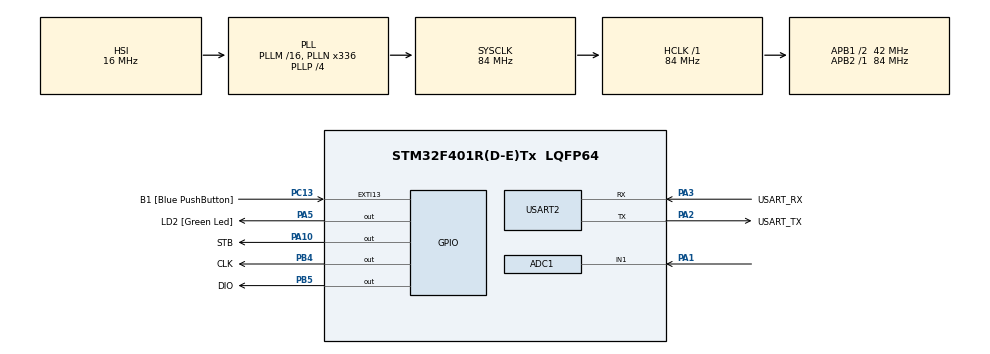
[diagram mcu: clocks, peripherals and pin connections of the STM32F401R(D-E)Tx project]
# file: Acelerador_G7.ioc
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ADC1.Channel-5\#ChannelRegularConversion=ADC_CHANNEL_1
ADC1.InjNumberOfConversion=0
ADC1.NbrOfConversion=1
ADC1.NbrOfConversionFlag=1
ADC1.Rank-5\#ChannelRegularConversion=1
ADC1.SamplingTime-5\#ChannelRegularConversion=ADC_SAMPLETIME_480CYCLES
ADC1.master=1
Mcu.Family=STM32F4
Mcu.Name=STM32F401R(D-E)Tx
Mcu.Package=LQFP64
NVIC.ADC_IRQn=true\:0\:0\:false\:false\:true\:true\:true\:true
NVIC.PriorityGroup=NVIC_PRIORITYGROUP_0
PA1.Signal=ADCx_IN1
PA10.GPIO_Label=STB
PA10.Signal=GPIO_Output
PA13.GPIO_Label=TMS
PA13.Mode=Serial_Wire
PA13.Signal=SYS_JTMS-SWDIO
PA14.GPIO_Label=TCK
PA14.Mode=Serial_Wire
PA14.Signal=SYS_JTCK-SWCLK
PA2.GPIO_Label=USART_TX
PA2.GPIO_Mode=GPIO_MODE_AF_PP
PA2.GPIO_PuPd=GPIO_NOPULL
PA2.GPIO_Speed=GPIO_SPEED_FREQ_LOW
PA2.Mode=Asynchronous
PA2.Signal=USART2_TX
PA3.GPIO_Label=USART_RX
PA3.GPIO_Mode=GPIO_MODE_AF_PP
PA3.GPIO_PuPd=GPIO_NOPULL
PA3.GPIO_Speed=GPIO_SPEED_FREQ_LOW
PA3.Mode=Asynchronous
PA3.Signal=USART2_RX
PA5.GPIO_Label=LD2 [Green Led]
PA5.GPIO_Mode=GPIO_MODE_OUTPUT_PP
PA5.GPIO_PuPd=GPIO_NOPULL
PA5.GPIO_Speed=GPIO_SPEED_FREQ_LOW
PA5.Signal=GPIO_Output
PB3.GPIO_Label=SWO
PB3.Signal=SYS_JTDO-SWO
PB4.GPIO_Label=CLK
PB4.Signal=GPIO_Output
PB5.GPIO_Label=DIO
PB5.Signal=GPIO_Output
PC13-ANTI_TAMP.GPIO_Label=B1 [Blue PushButton]
PC13-ANTI_TAMP.GPIO_ModeDefaultEXTI=GPIO_MODE_IT_FALLING
PC13-ANTI_TAMP.GPIO_PuPd=GPIO_NOPULL
PC13-ANTI_TAMP.Signal=GPXTI13
PC14-OSC32_IN.Mode=LSE-External-Oscillator
PC14-OSC32_IN.Signal=RCC_OSC32_IN
PC15-OSC32_OUT.Mode=LSE-External-Oscillator
PC15-OSC32_OUT.Signal=RCC_OSC32_OUT
PH0\ -\ OSC_IN.Mode=HSE-External-Clock-Source
PH0\ -\ OSC_IN.Signal=RCC_OSC_IN
PH1\ -\ OSC_OUT.Mode=HSE-External-Clock-Source
PH1\ -\ OSC_OUT.Signal=RCC_OSC_OUT
ProjectManager.HeapSize=0x200
ProjectManager.StackSize=0x400
ProjectManager.TargetToolchain=STM32CubeIDE
RCC.48MHZClocksFreq_Value=48000000
RCC.AHBFreq_Value=84000000
RCC.APB1CLKDivider=RCC_HCLK_DIV2
RCC.APB1Freq_Value=42000000
RCC.APB1TimFreq_Value=84000000
RCC.APB2Freq_Value=84000000
RCC.APB2TimFreq_Value=84000000
RCC.CortexFreq_Value=84000000
RCC.HCLKFreq_Value=84000000
RCC.HSE_VALUE=8000000
RCC.HSI_VALUE=16000000
RCC.PLLN=336
RCC.PLLP=RCC_PLLP_DIV4
RCC.PLLQ=7
RCC.SYSCLKFreq_VALUE=84000000
RCC.SYSCLKSource=RCC_SYSCLKSOURCE_PLLCLK
RCC.VCOOutputFreq_Value=336000000
SH.ADCx_IN1.0=ADC1_IN1,IN1
USART2.VirtualMode=VM_ASYNC
board=NUCLEO-F401RE

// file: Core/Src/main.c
/* USER CODE BEGIN Header */
/**
 ******************************************************************************
 * @file           : main.c
 * @brief          : Main program body
 ******************************************************************************
 * @attention
 *
 * Copyright (c) 2024 STMicroelectronics.
 * All rights reserved.
 *
 * This software is licensed under terms that can be found in the LICENSE file
 * in the root directory of this software component.
 * If no LICENSE file comes with this software, it is provided AS-IS.
 *
 ******************************************************************************
 */
/* USER CODE END Header */
#include "main.h"
#include "TM1638.h"

ADC_HandleTypeDef hadc1;

UART_HandleTypeDef huart2;

/* USER CODE BEGIN PV */
volatile uint32_t adc_value = 0;
/* USER CODE END PV */

void SystemClock_Config(void);
static void MX_GPIO_Init(void);
static void MX_USART2_UART_Init(void);
static void MX_ADC1_Init(void);
/* USER CODE BEGIN PFP */

uint32_t LeerPotenciometro(ADC_HandleTypeDef *hadc1){
	HAL_ADC_Start(hadc1);
	HAL_ADC_PollForConversion(hadc1, HAL_MAX_DELAY);
	return HAL_ADC_GetValue(hadc1);
}
void ActualizarLedsAcelerometro(uint32_t val, TM1638 *tm){
	int i = 1;
	while (i <= 8 && val > 500) {
		val-=500;
		tm1638_Led(tm, i, 1);
		i++;
	}
	while (i <= 8){
		tm1638_Led(tm, i, 0);
		i++;
	}
}

//GESTION DE INTERRUPCIONES
void HAL_ADC_ConvCpltCallback(ADC_HandleTypeDef *hadc) {
    if(hadc->Instance == ADC1) {
    	adc_value = HAL_ADC_GetValue(hadc);
    }
}

/* USER CODE END PFP */

int main(void)
{

	/* MCU Configuration--------------------------------------------------------*/

	/* Reset of all peripherals, Initializes the Flash interface and the Systick. */
	HAL_Init();

	/* Configure the system clock */
	SystemClock_Config();

	/* Initialize all configured peripherals */
	MX_GPIO_Init();
	MX_USART2_UART_Init();
	MX_ADC1_Init();
	/* USER CODE BEGIN 2 */
	/* USER CODE BEGIN 0 */
	/* USER CODE BEGIN 2 */
	TM1638 TM;
	TM.clk_port = CLK_GPIO_Port;
	TM.clk_pin = CLK_Pin;
	TM.stb_port = STB_GPIO_Port;
	TM.stb_pin = STB_Pin;
	TM.dio_port = DIO_GPIO_Port;
	TM.dio_pin = DIO_Pin;
	tm1638_TurnOn(&TM, 7); // Brillo del display = 7 (máximo)
	tm1638_DisplayClear(&TM); // Limpiar el display

	unsigned char DISPLAY[5];
	/* USER CODE END 2 */
	/* USER CODE END 0 */
	/* USER CODE END 2 */

	/* Infinite loop */
	/* USER CODE BEGIN WHILE */
	while (1)
	{
		HAL_ADC_Start_IT(&hadc1); //GESTION POR INTERRUPCIONES
		//adc_value = LeerPotenciometro(&hadc1); //GESTION POR SPOIL
		sprintf(DISPLAY,"%d",adc_value);
		tm1638_DisplayTxt(&TM, DISPLAY);
		ActualizarLedsAcelerometro(adc_value, &TM);
		HAL_Delay(100);
		/* USER CODE END WHILE */

	}
}

void SystemClock_Config(void)
{
	RCC_OscInitTypeDef RCC_OscInitStruct = {0};
	RCC_ClkInitTypeDef RCC_ClkInitStruct = {0};

	/** Configure the main internal regulator output voltage
	 */
	__HAL_RCC_PWR_CLK_ENABLE();
	__HAL_PWR_VOLTAGESCALING_CONFIG(PWR_REGULATOR_VOLTAGE_SCALE2);

	/** Initializes the RCC Oscillators according to the specified parameters
	 * in the RCC_OscInitTypeDef structure.
	 */
	RCC_OscInitStruct.OscillatorType = RCC_OSCILLATORTYPE_HSI;
	RCC_OscInitStruct.HSIState = RCC_HSI_ON;
	RCC_OscInitStruct.HSICalibrationValue = RCC_HSICALIBRATION_DEFAULT;
	RCC_OscInitStruct.PLL.PLLState = RCC_PLL_ON;
	RCC_OscInitStruct.PLL.PLLSource = RCC_PLLSOURCE_HSI;
	RCC_OscInitStruct.PLL.PLLM = 16;
	RCC_OscInitStruct.PLL.PLLN = 336;
	RCC_OscInitStruct.PLL.PLLP = RCC_PLLP_DIV4;
	RCC_OscInitStruct.PLL.PLLQ = 7;
	if (HAL_RCC_OscConfig(&RCC_OscInitStruct) != HAL_OK)
	{
		Error_Handler();
	}

	/** Initializes the CPU, AHB and APB buses clocks
	 */
	RCC_ClkInitStruct.ClockType = RCC_CLOCKTYPE_HCLK|RCC_CLOCKTYPE_SYSCLK
			|RCC_CLOCKTYPE_PCLK1|RCC_CLOCKTYPE_PCLK2;
	RCC_ClkInitStruct.SYSCLKSource = RCC_SYSCLKSOURCE_PLLCLK;
	RCC_ClkInitStruct.AHBCLKDivider = RCC_SYSCLK_DIV1;
	RCC_ClkInitStruct.APB1CLKDivider = RCC_HCLK_DIV2;
	RCC_ClkInitStruct.APB2CLKDivider = RCC_HCLK_DIV1;

	if (HAL_RCC_ClockConfig(&RCC_ClkInitStruct, FLASH_LATENCY_2) != HAL_OK)
	{
		Error_Handler();
	}
}

static void MX_ADC1_Init(void)
{

	ADC_ChannelConfTypeDef sConfig = {0};

	/** Configure the global features of the ADC (Clock, Resolution, Data Alignment and number of conversion)
	 */
	hadc1.Instance = ADC1;
	hadc1.Init.ClockPrescaler = ADC_CLOCK_SYNC_PCLK_DIV4;
	hadc1.Init.Resolution = ADC_RESOLUTION_12B;
	hadc1.Init.ScanConvMode = DISABLE;
	hadc1.Init.ContinuousConvMode = DISABLE;
	hadc1.Init.DiscontinuousConvMode = DISABLE;
	hadc1.Init.ExternalTrigConvEdge = ADC_EXTERNALTRIGCONVEDGE_NONE;
	hadc1.Init.ExternalTrigConv = ADC_SOFTWARE_START;
	hadc1.Init.DataAlign = ADC_DATAALIGN_RIGHT;
	hadc1.Init.NbrOfConversion = 1;
	hadc1.Init.DMAContinuousRequests = DISABLE;
	hadc1.Init.EOCSelection = ADC_EOC_SINGLE_CONV;
	if (HAL_ADC_Init(&hadc1) != HAL_OK)
	{
		Error_Handler();
	}

	/** Configure for the selected ADC regular channel its corresponding rank in the sequencer and its sample time.
	 */
	sConfig.Channel = ADC_CHANNEL_1;
	sConfig.Rank = 1;
	sConfig.SamplingTime = ADC_SAMPLETIME_480CYCLES;
	if (HAL_ADC_ConfigChannel(&hadc1, &sConfig) != HAL_OK)
	{
		Error_Handler();
	}

}

static void MX_USART2_UART_Init(void)
{

	huart2.Instance = USART2;
	huart2.Init.BaudRate = 115200;
	huart2.Init.WordLength = UART_WORDLENGTH_8B;
	huart2.Init.StopBits = UART_STOPBITS_1;
	huart2.Init.Parity = UART_PARITY_NONE;
	huart2.Init.Mode = UART_MODE_TX_RX;
	huart2.Init.HwFlowCtl = UART_HWCONTROL_NONE;
	huart2.Init.OverSampling = UART_OVERSAMPLING_16;
	if (HAL_UART_Init(&huart2) != HAL_OK)
	{
		Error_Handler();
	}

}

static void MX_GPIO_Init(void)
{
	GPIO_InitTypeDef GPIO_InitStruct = {0};

	/* GPIO Ports Clock Enable */
	__HAL_RCC_GPIOC_CLK_ENABLE();
	__HAL_RCC_GPIOH_CLK_ENABLE();
	__HAL_RCC_GPIOA_CLK_ENABLE();
	__HAL_RCC_GPIOB_CLK_ENABLE();

	/*Configure GPIO pin Output Level */
	HAL_GPIO_WritePin(GPIOA, LD2_Pin|STB_Pin, GPIO_PIN_RESET);

	/*Configure GPIO pin Output Level */
	HAL_GPIO_WritePin(GPIOB, CLK_Pin|DIO_Pin, GPIO_PIN_RESET);

	/*Configure GPIO pin : B1_Pin */
	GPIO_InitStruct.Pin = B1_Pin;
	GPIO_InitStruct.Mode = GPIO_MODE_IT_FALLING;
	GPIO_InitStruct.Pull = GPIO_NOPULL;
	HAL_GPIO_Init(B1_GPIO_Port, &GPIO_InitStruct);

	/*Configure GPIO pins : LD2_Pin STB_Pin */
	GPIO_InitStruct.Pin = LD2_Pin|STB_Pin;
	GPIO_InitStruct.Mode = GPIO_MODE_OUTPUT_PP;
	GPIO_InitStruct.Pull = GPIO_NOPULL;
	GPIO_InitStruct.Speed = GPIO_SPEED_FREQ_LOW;
	HAL_GPIO_Init(GPIOA, &GPIO_InitStruct);

	/*Configure GPIO pins : CLK_Pin DIO_Pin */
	GPIO_InitStruct.Pin = CLK_Pin|DIO_Pin;
	GPIO_InitStruct.Mode = GPIO_MODE_OUTPUT_PP;
	GPIO_InitStruct.Pull = GPIO_NOPULL;
	GPIO_InitStruct.Speed = GPIO_SPEED_FREQ_LOW;
	HAL_GPIO_Init(GPIOB, &GPIO_InitStruct);

}

void Error_Handler(void)
{
	__disable_irq();
	while (1)
	{
	}
}
